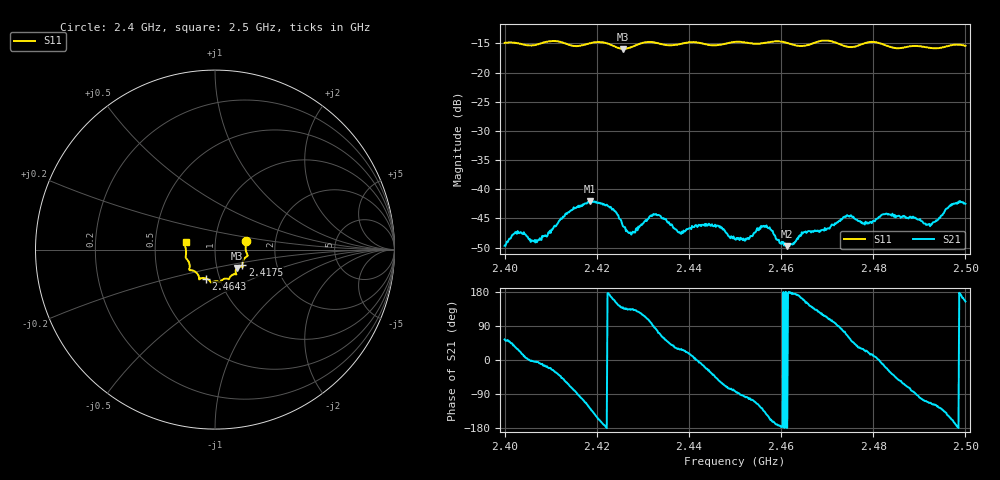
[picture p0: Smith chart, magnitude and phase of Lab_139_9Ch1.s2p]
# Hz S RI R 50
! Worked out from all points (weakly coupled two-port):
!   601 points, 2.4 GHz to 2.5 GHz, reference 50 ohm
!   highest |S21| = -42.01 dB at 2.4185 GHz (marker M1); lowest = -49.8 dB at 2.4613 GHz (marker M2)
!   lowest |S11| = -15.9 dB at 2.4257 GHz (marker M3), VSWR 1.38, Z = 62.5 - j13.1 ohm
!   |S11| at or under -10 dB: start of sweep to end of sweep
!   S12 and S22 are empty: the file has one direction only
!   S11 on the Smith chart (normalised r, x): 2.4 GHz: 1.41, +0.14; 2.4175 GHz: 1.34, -0.23; 2.4643 GHz: 0.86, -0.29; 2.5 GHz: 0.72, +0.06
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2.4e9  0.1728 0.0487  0.00192 0.00266  0 0  0 0
2.402833e9  0.1746 0.0355  0.00383 0.00212  0 0  0 0
2.4075e9  0.175 -0.0156  0.00363 -0.000553  0 0  0 0
2.416667e9  0.1532 -0.0741  -0.00135 -0.00715  0 0  0 0
2.4175e9  0.1522 -0.0836  -0.00291 -0.00699  0 0  0 0
2.4185e9  0.1527 -0.0922  -0.00476 -0.00634  0 0  0 0
2.422667e9  0.1478 -0.0946  -0.00703 0.000808  0 0  0 0
2.425667e9  0.1227 -0.1019  -0.00363 0.00318  0 0  0 0
2.427833e9  0.1145 -0.1215  -0.00303 0.0031  0 0  0 0
2.433333e9  0.1133 -0.1371  0.00189 0.00572  0 0  0 0
2.438167e9  0.0821 -0.1552  0.00369 0.00195  0 0  0 0
2.444667e9  0.0584 -0.1613  0.00412 -0.00259  0 0  0 0
2.45e9  0.0289 -0.1808  0.00052 -0.00369  0 0  0 0
2.4565e9  -0.00999 -0.1791  -0.00356 -0.00325  0 0  0 0
2.461333e9  -0.0277 -0.177  -0.00325 -6.26e-05  0 0  0 0
2.464333e9  -0.0498 -0.161  -0.00383 0.00112  0 0  0 0
2.466667e9  -0.076 -0.1594  -0.0033 0.00286  0 0  0 0
2.474167e9  -0.0986 -0.1346  0.00231 0.00544  0 0  0 0
2.478167e9  -0.1363 -0.1153  0.0045 0.00214  0 0  0 0
2.483333e9  -0.1411 -0.0902  0.00546 -0.00278  0 0  0 0
2.492167e9  -0.1613 -0.0237  -0.002 -0.00463  0 0  0 0
2.5e9  -0.164 0.0429  -0.00679 0.00321  0 0  0 0
